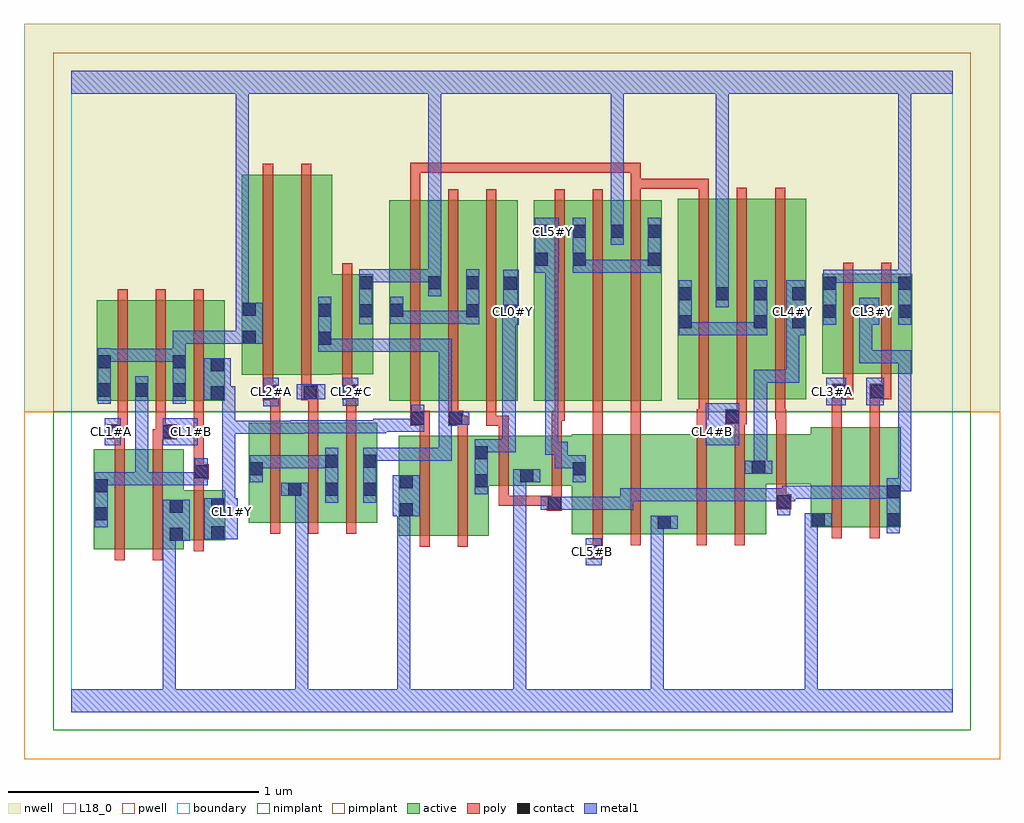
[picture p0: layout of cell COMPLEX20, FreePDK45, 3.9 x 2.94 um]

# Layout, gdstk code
import gdstk
lib = gdstk.Library(unit=1e-6, precision=1e-09)
def R(c, l, rs):  # rectangles x0, y0, x1, y1
    for r in rs: c.add(gdstk.rectangle(r[:2], r[2:], *l))
def A(c, l, x, y, w, h, nx, ny, dx, dy):  # array of equal rectangles
    R(c, l, [(x+i*dx, y+j*dy, x+i*dx+w, y+j*dy+h) for i in range(nx) for j in range(ny)])
active = (1, 0)
pwell = (2, 0)
nwell = (3, 0)
nimplant = (4, 0)
pimplant = (5, 0)
poly = (9, 0)
contact = (10, 0)
metal1 = (11, 0)
L18_0 = (18, 0)
boundary = (235, 0)

complex20 = lib.new_cell('COMPLEX20')
A(complex20, active, 0.102, 1.244, 0.06, 0.4, 3, 1, 0.15, 0)
A(complex20, active, 1.27, 1.244, 0.06, 0.8, 3, 1, 0.152, 0)
R(complex20, active, [(0.09,0.65,0.27,1.05), (0.27,0.65,0.45,1.05), (0.39,0.68,0.45,0.852), (0.39,0.686,0.616,0.886), (0.556,0.686,0.616,0.886), (1.308,0.704,1.488,1.104), (1.488,0.704,1.668,1.104), (1.998,0.71,2.178,1.11), (1.998,0.71,2.058,1.002), (2.178,0.71,2.398,1.11), (2.338,0.71,2.594,1.11), (2.338,0.71,2.398,0.788), (2.594,0.71,2.774,1.11), (2.714,0.71,2.774,1.008), (2.952,0.738,3.132,1.138), (2.952,0.738,3.012,0.91), (3.132,0.738,3.312,1.138), (3.252,0.738,3.312,1.138), (0.09,0.756,0.15,1.05), (0.71,0.756,0.77,1.156), (0.71,0.756,0.922,1.156), (0.862,0.756,0.922,1.156), (0.862,0.756,1.07,1.156), (1.01,0.756,1.07,1.156), (1.01,0.756,1.222,1.156), (1.162,0.756,1.222,1.156), (1.308,0.756,1.368,1.104), (1.608,0.894,1.668,1.066), (1.608,0.904,1.848,1.104), (1.788,0.904,2.058,1.104), (1.788,0.904,1.848,0.974), (2.714,0.91,3.012,1.11), (0.102,1.244,0.312,1.644), (0.252,1.244,0.462,1.644), (0.402,1.244,0.614,1.644), (0.554,1.244,0.614,1.644), (1.27,1.244,1.482,2.044), (1.422,1.244,1.634,2.044), (1.574,1.244,1.782,2.044), (1.722,1.244,1.782,2.044), (1.846,1.244,2.058,2.044), (1.846,1.244,1.906,2.044), (1.998,1.244,2.21,2.044), (2.15,1.244,2.358,2.044), (2.298,1.244,2.358,2.044), (2.422,1.25,2.63,2.05), (2.422,1.25,2.482,2.05), (2.57,1.25,2.782,2.05), (2.722,1.25,2.934,2.05), (2.874,1.25,2.934,2.044), (0.682,1.346,0.862,2.146), (0.682,1.346,0.742,2.044), (0.862,1.346,1.042,2.146), (0.982,1.348,1.206,1.748), (1.146,1.348,1.206,1.748), (2.998,1.35,3.21,1.75), (2.998,1.35,3.058,1.742), (3.15,1.35,3.358,1.75), (3.15,1.35,3.21,1.644), (3.298,1.35,3.358,1.75), (0.982,1.462,1.042,1.644), (2.722,1.528,2.782,2.044), (1.998,1.586,2.058,2.044), (2.57,1.64,2.63,2.05), (2.15,1.65,2.21,2.044)])
R(complex20, pwell, [(-0.188,-0.188,3.708,1.2)])
R(complex20, nwell, [(-0.188,1.2,3.708,2.748)])
R(complex20, nimplant, [(-0.072,-0.072,3.592,1.2)])
R(complex20, pimplant, [(-0.072,1.2,3.592,2.632)])
A(complex20, poly, 0.794, 0.712, 0.04, 0.488, 3, 1, 0.152, 0)
A(complex20, poly, 2.506, 1.17, 0.04, 0.076, 3, 1, 0.152, 0)
A(complex20, poly, 0.186, 1.2, 0.04, 0.488, 3, 1, 0.152, 0)
A(complex20, poly, 1.354, 1.2, 0.04, 0.888, 3, 1, 0.152, 0)
A(complex20, poly, 1.93, 1.2, 0.04, 0.888, 3, 1, 0.152, 0)
A(complex20, poly, 2.506, 1.206, 0.04, 0.888, 3, 1, 0.152, 0)
R(complex20, poly, [(0.174,0.606,0.214,1.094), (0.326,0.606,0.366,1.094), (2.062,0.61,2.122,0.67), (2.082,0.63,2.122,0.706), (0.49,0.642,0.53,0.93), (1.392,0.66,1.432,1.148), (1.544,0.66,1.584,1.148), (2.082,0.666,2.122,1.154), (2.234,0.666,2.274,1.154), (2.498,0.666,2.538,1.154), (2.65,0.666,2.69,1.154), (3.036,0.694,3.076,1.182), (3.188,0.694,3.228,1.182), (1.898,0.804,1.958,0.864), (2.814,0.81,2.874,0.87), (1.708,0.824,1.748,0.9), (1.708,0.824,1.748,0.864), (1.708,0.824,1.748,0.864), (1.708,0.824,1.748,0.864), (1.708,0.824,1.938,0.864), (1.898,0.824,1.938,0.864), (1.898,0.824,1.938,0.864), (1.918,0.824,1.958,0.9), (2.814,0.83,2.854,0.906), (1.708,0.86,1.748,1.148), (1.918,0.86,1.958,1.148), (2.814,0.866,2.854,1.154), (0.49,0.89,0.53,0.97), (0.49,0.93,0.55,0.99), (0.49,0.95,0.53,0.99), (0.49,0.95,0.53,0.99), (0.49,0.95,0.53,1.24), (0.174,1.054,0.214,1.13), (0.326,1.054,0.366,1.13), (0.142,1.09,0.214,1.15), (0.326,1.09,0.378,1.13), (0.338,1.09,0.378,1.13), (0.338,1.09,0.422,1.15), (1.392,1.108,1.432,1.184), (1.544,1.108,1.584,1.184), (1.708,1.108,1.748,1.184), (1.918,1.108,1.958,1.204), (0.174,1.11,0.214,1.15), (0.174,1.11,0.226,1.15), (0.186,1.11,0.226,1.24), (0.338,1.11,0.378,1.24), (2.082,1.114,2.122,1.19), (2.234,1.114,2.274,1.19), (2.498,1.114,2.538,1.21), (2.65,1.114,2.69,1.19), (2.814,1.114,2.854,1.21), (3.036,1.142,3.076,1.29), (3.188,1.142,3.228,1.29), (1.354,1.144,1.432,1.204), (1.506,1.144,1.566,1.204), (1.526,1.144,1.566,1.184), (1.526,1.144,1.584,1.184), (1.658,1.144,1.698,1.184), (1.658,1.144,1.698,1.184), (1.658,1.144,1.698,1.24), (1.658,1.144,1.748,1.184), (2.082,1.15,2.122,1.19), (2.082,1.15,2.122,1.19), (2.082,1.15,2.122,1.19), (2.082,1.15,2.122,1.24), (2.234,1.15,2.274,1.19), (2.234,1.15,2.274,1.19), (2.234,1.15,2.274,1.19), (2.234,1.15,2.274,1.24), (2.612,1.15,2.698,1.21), (2.65,1.15,2.69,1.19), (2.65,1.15,2.69,1.19), (0.794,1.16,0.834,1.286), (0.946,1.16,0.986,1.286), (1.098,1.16,1.138,1.288), (1.354,1.164,1.394,1.24), (1.354,1.164,1.394,1.204), (1.354,1.164,1.394,1.204), (1.506,1.164,1.546,1.24), (1.918,1.164,1.958,1.204), (1.918,1.164,1.958,1.204), (1.918,1.164,1.97,1.204), (1.93,1.164,1.97,1.24), (2.498,1.17,2.546,1.21), (2.506,1.17,2.546,1.21), (2.506,1.17,2.546,1.21), (2.81,1.17,2.85,1.21), (2.81,1.17,2.85,1.21), (2.81,1.17,2.854,1.21), (0.766,1.246,0.826,1.306), (0.786,1.246,0.826,1.286), (0.786,1.246,0.834,1.286), (0.918,1.246,0.984,1.306), (0.944,1.246,0.984,1.286), (0.944,1.246,0.986,1.286), (1.082,1.248,1.142,1.308), (1.098,1.248,1.138,1.288), (1.098,1.248,1.138,1.288), (3.036,1.25,3.076,1.29), (3.036,1.25,3.076,1.29), (3.036,1.25,3.122,1.31), (3.188,1.25,3.228,1.29), (3.188,1.25,3.228,1.29), (3.188,1.25,3.274,1.31), (0.766,1.266,0.806,1.342), (0.918,1.266,0.958,1.342), (1.082,1.268,1.122,1.344), (3.082,1.27,3.122,1.346), (3.234,1.27,3.274,1.346), (0.766,1.302,0.806,2.19), (0.918,1.302,0.958,2.19), (1.082,1.304,1.122,1.792), (3.082,1.306,3.122,1.794), (3.234,1.306,3.274,1.794), (1.354,2.048,1.394,2.194), (2.234,2.048,2.274,2.13), (2.506,2.054,2.546,2.13), (2.234,2.09,2.432,2.13), (2.234,2.09,2.274,2.194), (2.392,2.09,2.432,2.13), (2.392,2.09,2.432,2.13), (2.392,2.09,2.432,2.13), (2.392,2.09,2.546,2.13), (2.506,2.09,2.546,2.13), (1.354,2.154,1.394,2.194), (1.354,2.154,1.394,2.194), (1.354,2.154,1.394,2.194), (1.354,2.154,1.592,2.194), (1.552,2.154,1.592,2.194), (1.552,2.154,1.592,2.194), (1.552,2.154,1.592,2.194), (1.552,2.154,1.748,2.194), (1.708,2.154,1.748,2.194), (1.708,2.154,1.748,2.194), (1.708,2.154,1.748,2.194), (1.708,2.154,1.854,2.194), (1.814,2.154,1.854,2.194), (1.814,2.154,1.854,2.194), (1.814,2.154,1.854,2.194), (1.814,2.154,2.168,2.194), (2.128,2.154,2.168,2.194), (2.128,2.154,2.168,2.194), (2.128,2.154,2.168,2.194), (2.128,2.154,2.274,2.194), (2.234,2.154,2.274,2.194), (2.234,2.154,2.274,2.194)])
A(complex20, contact, 0.106, 1.26, 0.052, 0.052, 3, 1, 0.15, 0)
A(complex20, contact, 2.574, 1.644, 0.052, 0.052, 3, 1, 0.152, 0)
A(complex20, contact, 1.85, 1.894, 0.052, 0.052, 3, 1, 0.152, 0)
R(complex20, contact, [(2.066,0.614,2.118,0.666), (0.394,0.684,0.446,0.736), (0.56,0.69,0.612,0.742), (2.342,0.732,2.394,0.784), (2.956,0.742,3.008,0.794), (3.256,0.742,3.308,0.794), (0.094,0.766,0.146,0.818), (1.312,0.782,1.364,0.834), (0.394,0.796,0.446,0.848), (0.56,0.802,0.612,0.854), (1.902,0.808,1.954,0.86), (2.818,0.814,2.87,0.866), (3.256,0.854,3.308,0.906), (0.866,0.864,0.918,0.916), (1.014,0.864,1.066,0.916), (1.166,0.864,1.218,0.916), (0.094,0.878,0.146,0.93), (1.312,0.894,1.364,0.946), (1.612,0.898,1.664,0.95), (1.792,0.918,1.844,0.97), (0.494,0.934,0.546,0.986), (0.714,0.946,0.766,0.998), (2.002,0.946,2.054,0.998), (2.718,0.952,2.77,1.004), (1.014,0.976,1.066,1.028), (1.166,0.976,1.218,1.028), (1.612,1.01,1.664,1.062), (0.146,1.094,0.198,1.146), (0.366,1.094,0.418,1.146), (1.358,1.148,1.41,1.2), (1.51,1.148,1.562,1.2), (2.616,1.154,2.668,1.206), (0.558,1.248,0.61,1.3), (0.77,1.25,0.822,1.302), (0.928,1.25,0.98,1.302), (1.086,1.252,1.138,1.304), (3.04,1.254,3.092,1.306), (3.192,1.254,3.244,1.306), (0.558,1.36,0.61,1.412), (0.106,1.372,0.158,1.424), (0.406,1.372,0.458,1.424), (0.986,1.466,1.038,1.518), (0.686,1.47,0.738,1.522), (2.426,1.532,2.478,1.584), (2.726,1.532,2.778,1.584), (2.878,1.532,2.93,1.584), (1.726,1.574,1.778,1.626), (3.002,1.574,3.054,1.626), (3.154,1.574,3.206,1.626), (3.302,1.574,3.354,1.626), (1.15,1.576,1.202,1.628), (1.578,1.576,1.63,1.628), (0.986,1.578,1.038,1.63), (1.274,1.578,1.326,1.63), (0.686,1.582,0.738,1.634), (2.426,1.644,2.478,1.696), (1.726,1.686,1.778,1.738), (3.002,1.686,3.054,1.738), (3.302,1.686,3.354,1.738), (1.15,1.688,1.202,1.74), (1.426,1.688,1.478,1.74), (1.578,1.688,1.63,1.74), (1.85,1.782,1.902,1.834), (2.002,1.782,2.054,1.834), (2.302,1.782,2.354,1.834), (2.302,1.894,2.354,1.946)])
R(complex20, metal1, [(0,0,3.52,0.092), (0.366,0.04,0.418,0.736), (0.894,0.04,0.946,0.092), (0.894,0.04,0.946,0.092), (0.894,0.04,0.946,0.092), (0.894,0.04,0.946,0.092), (0.894,0.04,0.946,0.092), (0.894,0.04,0.946,0.092), (0.894,0.04,0.946,0.092), (0.894,0.04,0.946,0.092), (0.894,0.04,0.946,0.092), (0.894,0.04,0.946,0.092), (0.894,0.04,0.946,0.916), (1.302,0.04,1.354,0.092), (1.302,0.04,1.354,0.092), (1.302,0.04,1.354,0.092), (1.302,0.04,1.354,0.092), (1.302,0.04,1.354,0.092), (1.302,0.04,1.354,0.092), (1.302,0.04,1.354,0.092), (1.302,0.04,1.354,0.092), (1.302,0.04,1.354,0.092), (1.302,0.04,1.354,0.092), (1.302,0.04,1.354,0.834), (1.764,0.04,1.816,0.092), (1.764,0.04,1.816,0.092), (1.764,0.04,1.816,0.942), (2.314,0.04,2.366,0.696), (2.928,0.04,2.98,0.092), (2.928,0.04,2.98,0.092), (2.928,0.04,2.98,0.092), (2.928,0.04,2.98,0.092), (2.928,0.04,2.98,0.092), (2.928,0.04,2.98,0.092), (2.928,0.04,2.98,0.092), (2.928,0.04,2.98,0.092), (2.928,0.04,2.98,0.794), (2.054,0.586,2.118,0.694), (2.314,0.644,2.366,0.696), (2.314,0.644,2.366,0.696), (2.314,0.644,2.366,0.696), (2.314,0.644,2.366,0.696), (2.314,0.644,2.366,0.696), (2.314,0.644,2.366,0.696), (2.314,0.644,2.366,0.696), (2.314,0.644,2.366,0.696), (2.314,0.644,2.366,0.696), (2.314,0.644,2.366,0.696), (2.314,0.644,2.366,0.696), (2.314,0.644,2.366,0.784), (0.366,0.684,0.418,0.736), (0.366,0.684,0.418,0.736), (0.366,0.684,0.418,0.736), (0.366,0.684,0.418,0.736), (0.366,0.684,0.418,0.736), (0.366,0.684,0.418,0.736), (0.366,0.684,0.418,0.736), (0.366,0.684,0.418,0.736), (0.366,0.684,0.418,0.736), (0.366,0.684,0.418,0.736), (0.366,0.684,0.418,0.736), (0.366,0.684,0.418,0.736), (0.366,0.684,0.474,0.848), (0.532,0.69,0.666,0.854), (3.256,0.714,3.308,0.934), (2.314,0.732,2.422,0.784), (0.094,0.738,0.146,0.958), (2.928,0.742,2.98,0.794), (2.928,0.742,2.98,0.794), (2.928,0.742,2.98,0.794), (2.928,0.742,2.98,0.794), (2.928,0.742,3.036,0.794), (1.284,0.782,1.392,0.946), (1.302,0.782,1.354,0.834), (1.302,0.782,1.354,0.834), (2.818,0.786,2.87,0.894), (0.604,0.802,0.656,1.164), (1.874,0.808,1.982,0.86), (1.93,0.808,2.074,0.86), (2.022,0.808,2.074,0.86), (2.022,0.808,2.244,0.86), (2.192,0.808,2.244,0.86), (2.192,0.808,2.244,0.86), (2.192,0.808,2.244,0.894), (1.014,0.836,1.066,1.056), (1.166,0.836,1.218,1.056), (2.192,0.842,2.366,0.894), (2.314,0.842,2.366,0.894), (2.314,0.842,2.366,0.894), (2.314,0.842,2.366,0.894), (2.314,0.842,2.476,0.894), (2.424,0.842,2.476,0.894), (2.424,0.842,2.476,0.894), (2.424,0.842,2.476,0.894), (2.424,0.842,2.588,0.894), (2.536,0.842,2.588,0.894), (2.536,0.842,2.588,0.894), (2.536,0.842,2.588,0.894), (2.536,0.842,2.78,0.894), (2.728,0.842,2.78,0.894), (2.728,0.842,2.87,0.894), (2.818,0.842,2.89,0.894), (2.838,0.842,2.89,0.904), (2.838,0.852,3.088,0.904), (3.036,0.852,3.088,0.904), (3.036,0.852,3.088,0.904), (3.036,0.852,3.088,0.904), (3.036,0.852,3.088,0.904), (3.036,0.852,3.088,0.904), (3.036,0.852,3.088,0.904), (3.036,0.852,3.088,0.904), (3.036,0.852,3.198,0.904), (3.146,0.852,3.198,0.904), (3.146,0.852,3.198,0.904), (3.146,0.852,3.198,0.904), (3.146,0.852,3.308,0.904), (0.838,0.864,0.946,0.916), (0.894,0.864,0.946,0.916), (0.894,0.864,0.946,0.916), (1.612,0.87,1.664,1.09), (3.256,0.882,3.308,0.934), (3.256,0.882,3.354,0.934), (3.302,0.882,3.354,0.934), (3.302,0.882,3.354,0.934), (3.302,0.882,3.354,1.444), (1.764,0.89,1.816,0.942), (1.764,0.89,1.816,0.942), (1.764,0.89,1.816,0.942), (1.764,0.89,1.816,0.942), (1.764,0.89,1.816,0.942), (1.764,0.89,1.816,0.942), (1.764,0.89,1.816,0.942), (1.764,0.89,1.816,0.942), (1.764,0.89,1.816,0.942), (1.764,0.89,1.816,0.942), (1.764,0.89,1.816,0.942), (1.764,0.89,1.816,0.942), (1.764,0.89,1.816,0.97), (0.094,0.906,0.146,0.958), (0.094,0.906,0.146,0.958), (0.094,0.906,0.268,0.958), (0.216,0.906,0.268,0.958), (0.216,0.906,0.418,0.958), (0.256,0.906,0.308,0.958), (0.256,0.906,0.418,0.958), (0.256,0.906,0.308,1.284), (0.366,0.906,0.418,0.958), (0.366,0.906,0.418,0.958), (0.366,0.906,0.418,0.958), (0.366,0.906,0.418,0.958), (0.366,0.906,0.418,0.958), (0.366,0.906,0.418,0.958), (0.366,0.906,0.418,0.958), (0.366,0.906,0.546,0.958), (0.494,0.906,0.546,1.014), (0.714,0.918,0.766,1.026), (1.764,0.918,1.816,0.97), (1.764,0.918,1.872,0.97), (2.002,0.918,2.054,1.026), (2.69,0.952,2.798,1.004), (2.726,0.952,2.778,1.004), (2.726,0.952,2.778,1.004), (2.726,0.952,2.778,1.366), (0.714,0.974,0.766,1.026), (0.714,0.974,0.766,1.026), (0.714,0.974,0.876,1.026), (0.824,0.974,0.876,1.026), (0.824,0.974,0.876,1.026), (0.824,0.974,0.876,1.026), (0.824,0.974,1.066,1.026), (1.93,0.974,2.054,1.026), (1.93,0.974,1.982,1.08), (1.166,1.004,1.368,1.056), (1.316,1.004,1.368,1.056), (1.316,1.004,1.368,1.056), (1.316,1.004,1.368,1.056), (1.316,1.004,1.52,1.056), (1.468,1.004,1.52,1.056), (1.468,1.004,1.52,1.2), (1.892,1.028,1.944,1.08), (1.892,1.028,1.944,1.08), (1.892,1.028,1.944,1.08), (1.892,1.028,1.944,1.08), (1.892,1.028,1.944,1.08), (1.892,1.028,1.982,1.08), (1.892,1.028,1.944,1.806), (1.612,1.038,1.664,1.09), (1.612,1.038,1.664,1.09), (1.612,1.038,1.774,1.09), (1.722,1.038,1.774,1.09), (1.722,1.038,1.774,1.09), (1.722,1.038,1.774,1.09), (1.722,1.038,1.774,1.09), (1.722,1.038,1.774,1.09), (1.722,1.038,1.774,1.598), (0.134,1.066,0.198,1.174), (0.366,1.066,0.506,1.174), (2.534,1.066,2.668,1.234), (0.604,1.112,0.656,1.164), (0.604,1.112,0.656,1.164), (0.604,1.112,0.656,1.164), (0.604,1.112,0.766,1.164), (0.604,1.112,0.656,1.3), (0.714,1.112,0.766,1.164), (0.714,1.112,0.766,1.164), (0.714,1.112,0.766,1.164), (0.714,1.112,0.928,1.164), (0.876,1.112,0.928,1.166), (0.876,1.114,0.928,1.166), (0.876,1.114,0.928,1.166), (0.876,1.114,1.038,1.166), (0.986,1.114,1.038,1.166), (0.986,1.114,1.038,1.166), (0.986,1.114,1.038,1.166), (0.986,1.114,1.258,1.166), (1.206,1.114,1.258,1.172), (1.206,1.12,1.258,1.172), (1.206,1.12,1.258,1.172), (1.206,1.12,1.41,1.172), (1.358,1.12,1.41,1.228), (1.468,1.148,1.52,1.2), (1.468,1.148,1.52,1.2), (1.468,1.148,1.52,1.2), (1.468,1.148,1.534,1.2), (1.468,1.148,1.52,1.49), (1.482,1.148,1.59,1.2), (0.768,1.222,0.828,1.334), (1.084,1.224,1.146,1.334), (3.014,1.226,3.092,1.334), (3.174,1.226,3.244,1.334), (0.106,1.232,0.158,1.452), (0.256,1.232,0.308,1.284), (0.256,1.232,0.308,1.284), (0.256,1.232,0.308,1.34), (0.406,1.232,0.458,1.452), (0.53,1.248,0.638,1.412), (0.586,1.248,0.638,1.3), (0.586,1.248,0.656,1.3), (0.9,1.25,1.014,1.308), (2.726,1.314,2.778,1.366), (2.726,1.314,2.778,1.366), (2.726,1.314,2.778,1.366), (2.726,1.314,2.906,1.366), (2.854,1.314,2.906,1.366), (2.854,1.314,2.906,1.556), (3.146,1.392,3.198,1.444), (3.146,1.392,3.198,1.444), (3.146,1.392,3.198,1.444), (3.146,1.392,3.354,1.444), (3.146,1.392,3.198,1.598), (3.302,1.392,3.354,1.444), (0.106,1.398,0.158,1.45), (0.106,1.398,0.158,1.45), (0.106,1.398,0.308,1.45), (0.256,1.398,0.308,1.45), (0.256,1.398,0.308,1.45), (0.256,1.398,0.308,1.45), (0.256,1.398,0.458,1.45), (0.406,1.4,0.458,1.522), (0.986,1.438,1.038,1.658), (0.986,1.438,1.148,1.49), (1.096,1.438,1.148,1.49), (1.096,1.438,1.148,1.49), (1.096,1.438,1.148,1.49), (1.096,1.438,1.368,1.49), (1.316,1.438,1.368,1.49), (1.316,1.438,1.368,1.49), (1.316,1.438,1.368,1.49), (1.316,1.438,1.52,1.49), (1.468,1.438,1.52,1.49), (0.406,1.47,0.458,1.522), (0.406,1.47,0.458,1.522), (0.406,1.47,0.458,1.522), (0.406,1.47,0.6,1.522), (0.548,1.47,0.6,1.522), (0.548,1.47,0.6,1.522), (0.548,1.47,0.6,1.522), (0.548,1.47,0.6,1.522), (0.548,1.47,0.6,1.522), (0.548,1.47,0.6,1.522), (0.548,1.47,0.6,1.522), (0.548,1.47,0.71,1.522), (0.658,1.47,0.766,1.634), (2.426,1.504,2.478,1.556), (2.426,1.504,2.478,1.556), (2.426,1.504,2.478,1.724), (2.426,1.504,2.632,1.556), (2.58,1.504,2.632,1.556), (2.58,1.504,2.632,1.556), (2.58,1.504,2.632,1.556), (2.58,1.504,2.778,1.556), (2.726,1.504,2.778,1.724), (2.854,1.504,2.906,1.556), (2.854,1.504,2.906,1.556), (2.854,1.504,2.906,1.556), (2.854,1.504,2.906,1.556), (2.854,1.504,2.906,1.556), (2.854,1.504,2.906,1.556), (2.854,1.504,2.93,1.724), (1.722,1.546,1.778,1.598), (1.726,1.546,1.778,1.598), (1.726,1.546,1.778,1.598), (1.726,1.546,1.778,1.598), (1.726,1.546,1.786,1.766), (3.002,1.546,3.054,1.766), (3.146,1.546,3.226,1.654), (3.302,1.546,3.354,1.766), (1.15,1.548,1.202,1.768), (1.578,1.548,1.63,1.768), (1.274,1.55,1.326,1.658), (1.274,1.55,1.41,1.602), (1.358,1.55,1.41,1.602), (1.358,1.55,1.52,1.602), (1.468,1.55,1.52,1.602), (1.468,1.55,1.52,1.602), (1.468,1.55,1.52,1.602), (1.468,1.55,1.63,1.602), (0.658,1.582,0.71,1.634), (0.658,1.582,0.71,1.634), (0.658,1.582,0.71,1.634), (0.658,1.582,0.71,1.634), (0.658,1.582,0.71,2.52), (2.574,1.616,2.626,1.724), (1.426,1.66,1.478,1.768), (2.574,1.672,2.626,2.52), (3.002,1.714,3.054,1.766), (3.002,1.714,3.054,1.766), (3.002,1.714,3.198,1.766), (3.146,1.714,3.198,1.766), (3.146,1.714,3.354,1.766), (3.302,1.714,3.354,1.766), (3.302,1.714,3.354,1.766), (3.302,1.714,3.354,1.766), (3.302,1.714,3.354,1.766), (3.302,1.714,3.354,1.766), (3.302,1.714,3.354,1.766), (3.302,1.714,3.354,1.766), (3.302,1.714,3.354,1.766), (3.302,1.714,3.354,1.766), (3.302,1.714,3.354,1.766), (3.302,1.714,3.354,2.52), (1.15,1.716,1.202,1.768), (1.15,1.716,1.202,1.768), (1.15,1.716,1.202,1.768), (1.15,1.716,1.202,1.768), (1.15,1.716,1.202,1.768), (1.15,1.716,1.202,1.768), (1.15,1.716,1.202,1.768), (1.15,1.716,1.202,1.768), (1.15,1.716,1.368,1.768), (1.316,1.716,1.368,1.768), (1.316,1.716,1.368,1.768), (1.316,1.716,1.368,1.768), (1.316,1.716,1.478,1.768), (1.426,1.716,1.478,1.768), (1.426,1.716,1.478,1.768), (1.426,1.716,1.478,2.52), (1.85,1.754,1.946,1.974), (1.892,1.754,1.944,1.806), (1.892,1.754,1.944,1.806), (1.892,1.754,1.944,1.806), (1.892,1.754,1.944,1.806), (2.002,1.754,2.054,1.974), (2.002,1.754,2.184,1.806), (2.132,1.754,2.184,1.806), (2.132,1.754,2.184,1.806), (2.132,1.754,2.184,1.806), (2.132,1.754,2.354,1.806), (2.302,1.754,2.354,1.806), (2.302,1.754,2.354,1.806), (2.302,1.754,2.354,1.974), (2.154,1.866,2.206,1.974), (2.154,1.922,2.206,1.974), (2.154,1.922,2.206,1.974), (2.154,1.922,2.206,1.974), (2.154,1.922,2.206,1.974), (2.154,1.922,2.206,2.52), (0,2.468,3.52,2.56), (0.658,2.468,0.71,2.52), (0.658,2.468,0.71,2.52), (0.658,2.468,0.71,2.52), (0.658,2.468,0.71,2.52), (1.426,2.468,1.478,2.52), (1.426,2.468,1.478,2.52), (1.426,2.468,1.478,2.52), (1.426,2.468,1.478,2.52), (1.426,2.468,1.478,2.52), (1.426,2.468,1.478,2.52), (2.154,2.468,2.206,2.52), (2.154,2.468,2.206,2.52), (2.154,2.468,2.206,2.52), (2.154,2.468,2.206,2.52), (2.574,2.468,2.626,2.52), (2.574,2.468,2.626,2.52), (2.574,2.468,2.626,2.52), (2.574,2.468,2.626,2.52), (2.574,2.468,2.626,2.52), (2.574,2.468,2.626,2.52), (2.574,2.468,2.626,2.52), (2.574,2.468,2.626,2.52), (3.302,2.468,3.354,2.52), (3.302,2.468,3.354,2.52), (3.302,2.468,3.354,2.52), (3.302,2.468,3.354,2.52), (3.302,2.468,3.354,2.52), (3.302,2.468,3.354,2.52), (3.302,2.468,3.354,2.52), (3.302,2.468,3.354,2.52)])
A(complex20, L18_0, 0.774, 1.254, 0.052, 0.052, 3, 1, 0.16, 0)
R(complex20, L18_0, [(0,0,3.52,0.092), (0.366,0.04,0.418,0.736), (0.894,0.04,0.946,0.092), (0.894,0.04,0.946,0.092), (0.894,0.04,0.946,0.092), (0.894,0.04,0.946,0.092), (0.894,0.04,0.946,0.092), (0.894,0.04,0.946,0.092), (0.894,0.04,0.946,0.092), (0.894,0.04,0.946,0.092), (0.894,0.04,0.946,0.092), (0.894,0.04,0.946,0.092), (0.894,0.04,0.946,0.916), (1.302,0.04,1.354,0.092), (1.302,0.04,1.354,0.092), (1.302,0.04,1.354,0.092), (1.302,0.04,1.354,0.092), (1.302,0.04,1.354,0.092), (1.302,0.04,1.354,0.092), (1.302,0.04,1.354,0.092), (1.302,0.04,1.354,0.092), (1.302,0.04,1.354,0.092), (1.302,0.04,1.354,0.092), (1.302,0.04,1.354,0.834), (1.764,0.04,1.816,0.092), (1.764,0.04,1.816,0.092), (1.764,0.04,1.816,0.942), (2.314,0.04,2.366,0.696), (2.928,0.04,2.98,0.092), (2.928,0.04,2.98,0.092), (2.928,0.04,2.98,0.092), (2.928,0.04,2.98,0.092), (2.928,0.04,2.98,0.092), (2.928,0.04,2.98,0.092), (2.928,0.04,2.98,0.092), (2.928,0.04,2.98,0.092), (2.928,0.04,2.98,0.794), (2.054,0.586,2.118,0.694), (2.054,0.614,2.106,0.666), (2.314,0.644,2.366,0.696), (2.314,0.644,2.366,0.696), (2.314,0.644,2.366,0.696), (2.314,0.644,2.366,0.696), (2.314,0.644,2.366,0.696), (2.314,0.644,2.366,0.696), (2.314,0.644,2.366,0.696), (2.314,0.644,2.366,0.696), (2.314,0.644,2.366,0.696), (2.314,0.644,2.366,0.696), (2.314,0.644,2.366,0.696), (2.314,0.644,2.366,0.784), (0.366,0.684,0.418,0.736), (0.366,0.684,0.418,0.736), (0.366,0.684,0.418,0.736), (0.366,0.684,0.418,0.736), (0.366,0.684,0.418,0.736), (0.366,0.684,0.418,0.736), (0.366,0.684,0.418,0.736), (0.366,0.684,0.418,0.736), (0.366,0.684,0.418,0.736), (0.366,0.684,0.418,0.736), (0.366,0.684,0.418,0.736), (0.366,0.684,0.418,0.736), (0.366,0.684,0.474,0.848), (0.532,0.69,0.666,0.854), (3.256,0.714,3.308,0.934), (2.314,0.732,2.422,0.784), (2.928,0.742,2.98,0.794), (2.928,0.742,2.98,0.794), (2.928,0.742,2.98,0.794), (2.928,0.742,2.98,0.794), (2.928,0.742,3.036,0.794), (0.614,0.774,0.666,0.826), (1.284,0.782,1.392,0.946), (1.302,0.782,1.354,0.834), (1.302,0.782,1.354,0.834), (2.818,0.786,2.87,0.894), (0.604,0.802,0.656,1.164), (1.874,0.808,1.982,0.86), (1.93,0.808,2.074,0.86), (2.022,0.808,2.074,0.86), (2.022,0.808,2.244,0.86), (2.192,0.808,2.244,0.86), (2.192,0.808,2.244,0.86), (2.192,0.808,2.244,0.894), (2.192,0.842,2.366,0.894), (2.314,0.842,2.366,0.894), (2.314,0.842,2.366,0.894), (2.314,0.842,2.366,0.894), (2.314,0.842,2.476,0.894), (2.424,0.842,2.476,0.894), (2.424,0.842,2.476,0.894), (2.424,0.842,2.476,0.894), (2.424,0.842,2.588,0.894), (2.536,0.842,2.588,0.894), (2.536,0.842,2.588,0.894), (2.536,0.842,2.588,0.894), (2.536,0.842,2.78,0.894), (2.728,0.842,2.78,0.894), (2.728,0.842,2.87,0.894), (2.818,0.842,2.89,0.894), (2.838,0.842,2.89,0.904), (2.838,0.852,3.088,0.904), (3.036,0.852,3.088,0.904), (3.036,0.852,3.088,0.904), (3.036,0.852,3.088,0.904), (3.036,0.852,3.088,0.904), (3.036,0.852,3.088,0.904), (3.036,0.852,3.088,0.904), (3.036,0.852,3.088,0.904), (3.036,0.852,3.198,0.904), (3.146,0.852,3.198,0.904), (3.146,0.852,3.198,0.904), (3.146,0.852,3.198,0.904), (3.146,0.852,3.308,0.904), (0.838,0.864,0.946,0.916), (0.894,0.864,0.946,0.916), (0.894,0.864,0.946,0.916), (1.612,0.87,1.664,1.09), (3.256,0.882,3.308,0.934), (3.256,0.882,3.354,0.934), (3.302,0.882,3.354,0.934), (3.302,0.882,3.354,0.934), (3.302,0.882,3.354,1.444), (1.764,0.89,1.816,0.942), (1.764,0.89,1.816,0.942), (1.764,0.89,1.816,0.942), (1.764,0.89,1.816,0.942), (1.764,0.89,1.816,0.942), (1.764,0.89,1.816,0.942), (1.764,0.89,1.816,0.942), (1.764,0.89,1.816,0.942), (1.764,0.89,1.816,0.942), (1.764,0.89,1.816,0.942), (1.764,0.89,1.816,0.942), (1.764,0.89,1.816,0.942), (1.764,0.89,1.816,0.97), (1.764,0.918,1.816,0.97), (1.764,0.918,1.872,0.97), (2.002,0.918,2.054,1.026), (2.69,0.952,2.798,1.004), (2.726,0.952,2.778,1.004), (2.726,0.952,2.778,1.004), (2.726,0.952,2.778,1.366), (1.93,0.974,1.982,1.08), (1.93,0.974,2.054,1.026), (1.892,1.028,1.944,1.08), (1.892,1.028,1.944,1.08), (1.892,1.028,1.944,1.08), (1.892,1.028,1.944,1.08), (1.892,1.028,1.944,1.08), (1.892,1.028,1.944,1.806), (1.892,1.028,1.982,1.08), (1.612,1.038,1.664,1.09), (1.612,1.038,1.664,1.09), (1.612,1.038,1.774,1.09), (1.722,1.038,1.774,1.09), (1.722,1.038,1.774,1.09), (1.722,1.038,1.774,1.09), (1.722,1.038,1.774,1.09), (1.722,1.038,1.774,1.09), (1.722,1.038,1.774,1.598), (0.134,1.066,0.198,1.174), (0.366,1.066,0.506,1.174), (2.534,1.066,2.668,1.234), (0.134,1.094,0.186,1.146), (0.454,1.094,0.506,1.146), (2.534,1.094,2.586,1.146), (0.604,1.112,0.656,1.164), (0.604,1.112,0.656,1.164), (0.604,1.112,0.656,1.164), (0.604,1.112,0.656,1.3), (0.604,1.112,0.766,1.164), (0.714,1.112,0.766,1.164), (0.714,1.112,0.766,1.164), (0.714,1.112,0.766,1.164), (0.714,1.112,0.928,1.164), (0.876,1.112,0.928,1.166), (0.876,1.114,0.928,1.166), (0.876,1.114,0.928,1.166), (0.876,1.114,1.038,1.166), (0.986,1.114,1.038,1.166), (0.986,1.114,1.038,1.166), (0.986,1.114,1.038,1.166), (0.986,1.114,1.258,1.166), (1.206,1.114,1.258,1.172), (1.206,1.12,1.258,1.172), (1.206,1.12,1.258,1.172), (1.206,1.12,1.41,1.172), (1.358,1.12,1.41,1.228), (0.768,1.222,0.828,1.334), (1.084,1.224,1.146,1.334), (3.014,1.226,3.092,1.334), (3.174,1.226,3.244,1.334), (0.106,1.232,0.158,1.452), (0.406,1.232,0.458,1.452), (0.53,1.248,0.638,1.412), (0.586,1.248,0.638,1.3), (0.586,1.248,0.656,1.3), (0.9,1.25,1.014,1.308), (3.014,1.254,3.066,1.306), (3.174,1.254,3.226,1.306), (2.726,1.314,2.778,1.366), (2.726,1.314,2.778,1.366), (2.726,1.314,2.778,1.366), (2.726,1.314,2.906,1.366), (2.854,1.314,2.906,1.366), (2.854,1.314,2.906,1.556), (3.146,1.392,3.198,1.444), (3.146,1.392,3.198,1.444), (3.146,1.392,3.198,1.444), (3.146,1.392,3.198,1.598), (3.146,1.392,3.354,1.444), (3.302,1.392,3.354,1.444), (0.106,1.398,0.158,1.45), (0.106,1.398,0.158,1.45), (0.106,1.398,0.308,1.45), (0.256,1.398,0.308,1.45), (0.256,1.398,0.308,1.45), (0.256,1.398,0.308,1.45), (0.256,1.398,0.458,1.45), (0.406,1.4,0.458,1.522), (0.406,1.47,0.458,1.522), (0.406,1.47,0.458,1.522), (0.406,1.47,0.458,1.522), (0.406,1.47,0.6,1.522), (0.548,1.47,0.6,1.522), (0.548,1.47,0.6,1.522), (0.548,1.47,0.6,1.522), (0.548,1.47,0.6,1.522), (0.548,1.47,0.6,1.522), (0.548,1.47,0.6,1.522), (0.548,1.47,0.6,1.522), (0.548,1.47,0.71,1.522), (0.658,1.47,0.766,1.634), (2.854,1.504,2.906,1.556), (2.854,1.504,2.906,1.556), (2.854,1.504,2.906,1.556), (2.854,1.504,2.906,1.556), (2.854,1.504,2.906,1.556), (2.854,1.504,2.906,1.556), (2.854,1.504,2.93,1.724), (1.722,1.546,1.778,1.598), (1.726,1.546,1.778,1.598), (1.726,1.546,1.778,1.598), (1.726,1.546,1.778,1.598), (1.726,1.546,1.786,1.766), (3.002,1.546,3.054,1.766), (3.146,1.546,3.226,1.654), (3.302,1.546,3.354,1.766), (1.15,1.548,1.202,1.768), (1.734,1.574,1.786,1.626), (2.854,1.574,2.906,1.626), (3.174,1.574,3.226,1.626), (0.658,1.582,0.71,1.634), (0.658,1.582,0.71,1.634), (0.658,1.582,0.71,1.634), (0.658,1.582,0.71,1.634), (0.658,1.582,0.71,2.52), (2.574,1.616,2.626,1.724), (1.426,1.66,1.478,1.768), (2.574,1.672,2.626,2.52), (3.002,1.714,3.054,1.766), (3.002,1.714,3.054,1.766), (3.002,1.714,3.198,1.766), (3.146,1.714,3.198,1.766), (3.146,1.714,3.354,1.766), (3.302,1.714,3.354,1.766), (3.302,1.714,3.354,1.766), (3.302,1.714,3.354,1.766), (3.302,1.714,3.354,1.766), (3.302,1.714,3.354,1.766), (3.302,1.714,3.354,1.766), (3.302,1.714,3.354,1.766), (3.302,1.714,3.354,1.766), (3.302,1.714,3.354,1.766), (3.302,1.714,3.354,1.766), (3.302,1.714,3.354,2.52), (1.15,1.716,1.202,1.768), (1.15,1.716,1.202,1.768), (1.15,1.716,1.202,1.768), (1.15,1.716,1.202,1.768), (1.15,1.716,1.202,1.768), (1.15,1.716,1.202,1.768), (1.15,1.716,1.202,1.768), (1.15,1.716,1.202,1.768), (1.15,1.716,1.368,1.768), (1.316,1.716,1.368,1.768), (1.316,1.716,1.368,1.768), (1.316,1.716,1.368,1.768), (1.316,1.716,1.478,1.768), (1.426,1.716,1.478,1.768), (1.426,1.716,1.478,1.768), (1.426,1.716,1.478,2.52), (1.85,1.754,1.946,1.974), (1.892,1.754,1.944,1.806), (1.892,1.754,1.944,1.806), (1.892,1.754,1.944,1.806), (1.892,1.754,1.944,1.806), (2.154,1.866,2.206,1.974), (1.894,1.894,1.946,1.946), (2.154,1.922,2.206,1.974), (2.154,1.922,2.206,1.974), (2.154,1.922,2.206,1.974), (2.154,1.922,2.206,1.974), (2.154,1.922,2.206,2.52), (0,2.468,3.52,2.56), (0.658,2.468,0.71,2.52), (0.658,2.468,0.71,2.52), (0.658,2.468,0.71,2.52), (0.658,2.468,0.71,2.52), (1.426,2.468,1.478,2.52), (1.426,2.468,1.478,2.52), (1.426,2.468,1.478,2.52), (1.426,2.468,1.478,2.52), (1.426,2.468,1.478,2.52), (1.426,2.468,1.478,2.52), (2.154,2.468,2.206,2.52), (2.154,2.468,2.206,2.52), (2.154,2.468,2.206,2.52), (2.154,2.468,2.206,2.52), (2.574,2.468,2.626,2.52), (2.574,2.468,2.626,2.52), (2.574,2.468,2.626,2.52), (2.574,2.468,2.626,2.52), (2.574,2.468,2.626,2.52), (2.574,2.468,2.626,2.52), (2.574,2.468,2.626,2.52), (2.574,2.468,2.626,2.52), (3.302,2.468,3.354,2.52), (3.302,2.468,3.354,2.52), (3.302,2.468,3.354,2.52), (3.302,2.468,3.354,2.52), (3.302,2.468,3.354,2.52), (3.302,2.468,3.354,2.52), (3.302,2.468,3.354,2.52), (3.302,2.468,3.354,2.52)])
R(complex20, boundary, [(0,0,3.52,2.56)])
complex20.add(gdstk.Label('CL0#Y', (1.76,1.6), layer=11, texttype=0))
complex20.add(gdstk.Label('CL1#A', (0.16,1.12), layer=11, texttype=0))
complex20.add(gdstk.Label('CL1#B', (0.48,1.12), layer=11, texttype=0))
complex20.add(gdstk.Label('CL1#Y', (0.64,0.8), layer=11, texttype=0))
complex20.add(gdstk.Label('CL2#A', (0.8,1.28), layer=11, texttype=0))
complex20.add(gdstk.Label('CL2#B', (0.96,1.28), layer=11, texttype=0))
complex20.add(gdstk.Label('CL2#C', (1.12,1.28), layer=11, texttype=0))
complex20.add(gdstk.Label('CL3#A', (3.04,1.28), layer=11, texttype=0))
complex20.add(gdstk.Label('CL3#B', (3.2,1.28), layer=11, texttype=0))
complex20.add(gdstk.Label('CL3#Y', (3.2,1.6), layer=11, texttype=0))
complex20.add(gdstk.Label('CL4#B', (2.56,1.12), layer=11, texttype=0))
complex20.add(gdstk.Label('CL4#Y', (2.88,1.6), layer=11, texttype=0))
complex20.add(gdstk.Label('CL5#B', (2.08,0.64), layer=11, texttype=0))
complex20.add(gdstk.Label('CL5#Y', (1.92,1.92), layer=11, texttype=0))

lib.write_gds('COMPLEX20.gds')
